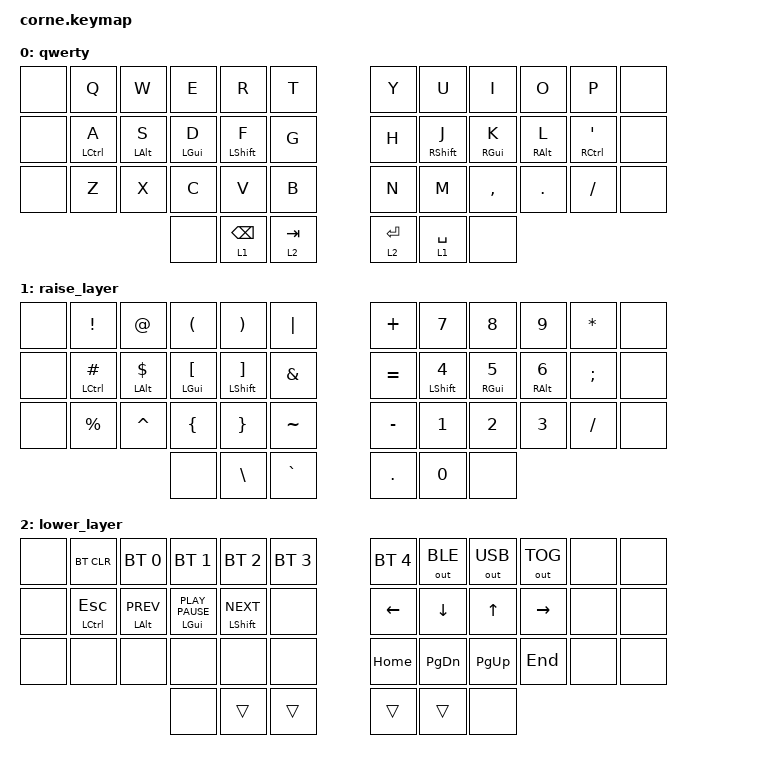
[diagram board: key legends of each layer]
/*
 * Copyright (c) 2020 The ZMK Contributors
 *
 * SPDX-License-Identifier: MIT
 */

#include <behaviors.dtsi>
#include <dt-bindings/zmk/bt.h>
#include <dt-bindings/zmk/keys.h>
#include <dt-bindings/zmk/outputs.h>

/ {
    behaviors {
        hmr_l: hmr_l {
            compatible = "zmk,behavior-hold-tap";
            label = "HMR_L";
            bindings = <&kp>, <&kp>;

            #binding-cells = <2>;
            tapping-term-ms = <280>;
            quick-tap-ms = <175>;
            require-prior-idle-ms = <150>;
            flavor = "balanced";
            hold-trigger-on-release;
            hold-trigger-key-positions = <6 7 8 9 10 11 18 19 20 21 22 23 30 31 32 33 34 35 39 40 41>;
        };

        hmr_r: hmr_r {
            compatible = "zmk,behavior-hold-tap";
            label = "HMR_R";
            bindings = <&kp>, <&kp>;

            #binding-cells = <2>;
            tapping-term-ms = <280>;
            quick-tap-ms = <175>;
            require-prior-idle-ms = <150>;
            flavor = "balanced";
            hold-trigger-on-release;
            hold-trigger-key-positions = <0 1 2 3 4 5 12 13 14 15 16 17 24 25 26 27 28 29 36 37 38>;
        };
    };

    keymap {
        compatible = "zmk,keymap";

        qwerty {
            // -----------------------------------------------------------------------------------------
            // |  TAB |  Q  |  W  |  E  |  R  |  T  |   |  Y  |  U   |  I  |  O  |  P  | BSPC |
            // | CTRL |  A  |  S  |  D  |  F  |  G  |   |  H  |  J   |  K  |  L  |  ;  |  '   |
            // | SHFT |  Z  |  X  |  C  |  V  |  B  |   |  N  |  M   |  ,  |  .  |  /  | ESC  |
            //                    | GUI | LWR | SPC |   | ENT | RSE  | ALT |

            bindings = <
&none  &kp Q           &kp W          &kp E          &kp R            &kp T        &kp Y        &kp U            &kp I          &kp O          &kp P                      &none
&none  &hmr_l LCTRL A  &hmr_l LALT S  &hmr_l LGUI D  &hmr_l LSHIFT F  &kp G        &kp H        &hmr_r RSHIFT J  &hmr_r RGUI K  &hmr_r RALT L  &hmr_r RCTRL SINGLE_QUOTE  &none
&none  &kp Z           &kp X          &kp C          &kp V            &kp B        &kp N        &kp M            &kp COMMA      &kp DOT        &kp FSLH                   &none
                                      &none          &lt 1 BACKSPACE  &lt 2 TAB    &lt 2 ENTER  &lt 1 SPACE      &none
            >;
        };

        raise_layer {
            // -----------------------------------------------------------------------------------------
            // |  TAB |  !  |  @  |  #  |  $  |  %  |   |  ^  |  &  |  *  |  (  |  )  | BSPC |
            // | CTRL |     |     |     |     |     |   |  -  |  =  |  [  |  ]  |  \  |  `   |
            // | SHFT |     |     |     |     |     |   |  _  |  +  |  {  |  }  | "|" |  ~   |
            //                    | GUI |     | SPC |   | ENT |     | ALT |

            bindings = <
&none  &kp EXCL           &kp AT              &kp LEFT_PARENTHESIS      &kp RIGHT_PARENTHESIS            &kp PIPE     &kp PLUS   &kp N7                &kp N8          &kp N9          &kp STAR   &none
&none  &hmr_l LCTRL HASH  &hmr_l LALT DOLLAR  &hmr_l LGUI LEFT_BRACKET  &hmr_l LEFT_SHIFT RIGHT_BRACKET  &kp AMPS     &kp EQUAL  &hmr_r LEFT_SHIFT N4  &hmr_r RGUI N5  &hmr_r RALT N6  &kp SEMI   &none
&none  &kp PERCENT        &kp CARET           &kp LEFT_BRACE            &kp RIGHT_BRACE                  &kp TILDE    &kp MINUS  &kp N1                &kp NUMBER_2    &kp N3          &kp SLASH  &none
                                              &none                     &kp BACKSLASH                    &kp GRAVE    &kp DOT    &kp N0                &none
            >;
        };

        lower_layer {
            // -----------------------------------------------------------------------------------------
            // |     | CLR | BT1 | BT2 | BT3 | BT4 |   | BT5 | BLE | USB | TOG |     |      |
            // |     | ESC | PRV | P/P | NXT |     |   | LFT | DWN |  UP | RGT |     |      |
            // |     |     |     |     |     |     |   | HOM | PGD | PGU | END |     |      |
            //                    |     |     |     |   |     |     |     |

            bindings = <
&none  &bt BT_CLR           &bt BT_SEL 0        &bt BT_SEL 1              &bt BT_SEL 2          &bt BT_SEL 3  &bt BT_SEL 4  &out OUT_BLE   &out OUT_USB  &out OUT_TOG  &none  &none
&none  &hmr_l LCTRL ESCAPE  &hmr_l LALT K_PREV  &hmr_l LGUI K_PLAY_PAUSE  &hmr_l LSHIFT K_NEXT  &none     &kp LEFT  &kp DOWN       &kp UP       &kp RIGHT  &none  &none
&none  &none                &none               &none                     &none                 &none     &kp HOME  &kp PAGE_DOWN  &kp PAGE_UP  &kp END    &none  &none
                                                &none                     &trans                &trans    &trans    &trans         &none
            >;
        };
    };
};
